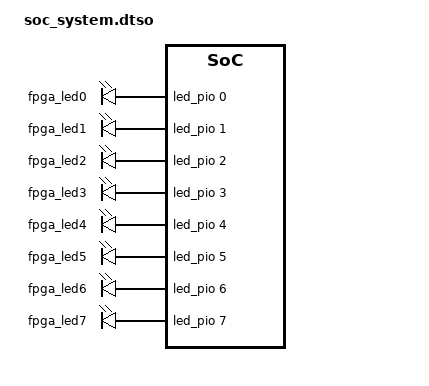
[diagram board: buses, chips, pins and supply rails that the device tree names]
//
// Copyright (c) 2017 Intel Corporation
//
// Permission is hereby granted, free of charge, to any person obtaining a copy
// of this software and associated documentation files (the "Software"), to
// deal in the Software without restriction, including without limitation the
// rights to use, copy, modify, merge, publish, distribute, sublicense, and/or
// sell copies of the Software, and to permit persons to whom the Software is
// furnished to do so, subject to the following conditions:
//
// The above copyright notice and this permission notice shall be included in
// all copies or substantial portions of the Software.
//
// THE SOFTWARE IS PROVIDED "AS IS", WITHOUT WARRANTY OF ANY KIND, EXPRESS OR
// IMPLIED, INCLUDING BUT NOT LIMITED TO THE WARRANTIES OF MERCHANTABILITY,
// FITNESS FOR A PARTICULAR PURPOSE AND NONINFRINGEMENT. IN NO EVENT SHALL THE
// AUTHORS OR COPYRIGHT HOLDERS BE LIABLE FOR ANY CLAIM, DAMAGES OR OTHER
// LIABILITY, WHETHER IN AN ACTION OF CONTRACT, TORT OR OTHERWISE, ARISING
// FROM, OUT OF OR IN CONNECTION WITH THE SOFTWARE OR THE USE OR OTHER DEALINGS
// IN THE SOFTWARE.
//

/dts-v1/ /plugin/;

/ {
	fragment@0 {
		target-path = "/soc/base-fpga-region";

		#address-cells = <1>;
		#size-cells = <1>;

		__overlay__ {
			external-fpga-config;

			fpga-bridges = <&fpga_bridge0 &fpga_bridge1 &fpga_bridge2>;

			//
			// define the memory mapped details of our overlay
			//

			#address-cells = <2>;
			#size-cells = <1>;

			// first ranges line represents the H2F bridge
			// second ranges line represents the LWH2F bridge
			ranges = <0x00000000 0x00000000 0xc0000000 0x00010000>,
				 <0x00000001 0x00000000 0xff200000 0x00010038>;

			// there is no driver for the onchip memory core, but
			// since this is the only peripheral on the H2F bridge
			// we'll define it as an example of how the reg binding
			// relates to the ranges binding above
			ocram_64k: memory@0x000000000 {
				compatible = "not,compatible";
				reg = <0x00000000 0x00000000 0x00010000>;
				clocks = <&clk_0>;
			}; // ocram_64k

			// the rest of the peripherals below are on the LWH2F

			led_pio: gpio@0x100010000 {
				compatible = "altr,pio-1.0";
				reg = <0x00000001 0x00010000 0x00000010>;
				clocks = <&clk_0>;
				altr,ngpio = <8>;
				#gpio-cells = <2>;
				gpio-controller;
			}; // led_pio

			button_pio: gpio@0x100010010 {
				compatible = "altr,pio-1.0";
				reg = <0x00000001 0x00010010 0x00000010>;
				clocks = <&clk_0>;
				altr,ngpio = <1>;
				#gpio-cells = <2>;
				gpio-controller;
			}; // button_pio

			switch_pio: gpio@0x100010020 {
				compatible = "altr,pio-1.0";
				reg = <0x00000001 0x00010020 0x00000010>;
				clocks = <&clk_0>;
				altr,ngpio = <4>;
				#gpio-cells = <2>;
				gpio-controller;
			}; // switch_pio

			system_id: sysid@0x100010030 {
				compatible = "altr,sysid-1.0";
				reg = <0x00000001 0x00010030 0x00000008>;
				clocks = <&clk_0>;
			}; // system_id

			//
			// define the non-memory mapped details of our overlay
			//

			clk_0: clk_0 {
				compatible = "fixed-clock";
				#clock-cells;
				clock-frequency;
				clock-output-names = "clk_0-clk";
			}; // clk_0

			// define the led_pio pins as gpio-leds, this will allow
			// the gpio-leds driver to control these ports
			leds: leds {
				compatible = "gpio-leds";

				led_fpga0: fpga0 {
					label = "fpga_led0";
					gpios = <&led_pio 0 0>;
				}; // led_fpga0

				led_fpga1: fpga1 {
					label = "fpga_led1";
					gpios = <&led_pio 1 0>;
				}; // led_fpga1

				led_fpga2: fpga2 {
					label = "fpga_led2";
					gpios = <&led_pio 2 0>;
				}; // led_fpga2

				led_fpga3: fpga3 {
					label = "fpga_led3";
					gpios = <&led_pio 3 0>;
				}; // led_fpga3

				led_fpga4: fpga4 {
					label = "fpga_led4";
					gpios = <&led_pio 4 0>;
				}; // led_fpga4

				led_fpga5: fpga5 {
					label = "fpga_led5";
					gpios = <&led_pio 5 0>;
				}; // led_fpga5

				led_fpga6: fpga6 {
					label = "fpga_led6";
					gpios = <&led_pio 6 0>;
				}; // led_fpga6

				led_fpga7: fpga7 {
					label = "fpga_led7";
					gpios = <&led_pio 7 0>;
				}; // led_fpga7
			}; // leds
		}; // __overlay__
	}; // fragment@0
}; // /
